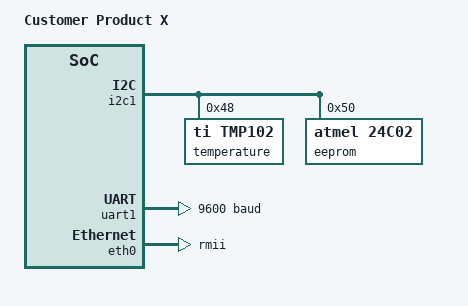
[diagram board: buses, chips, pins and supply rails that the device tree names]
/ {
    model = "Customer Product X";
};

&i2c1 {
    temperature@48 {
        compatible = "ti,tmp102";
        reg = <0x48>;
    };

    eeprom@50 {
        compatible = "atmel,24c02";
        reg = <0x50>;
    };
};

&spi1 {
    status = "disabled";
};

&uart1 {
    status = "okay";
    current-speed = <9600>;
};

&eth0 {
    status = "okay";
    phy-mode = "rmii";
};

&gpio1 {
    led0 {
        label = "status";
    };
};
